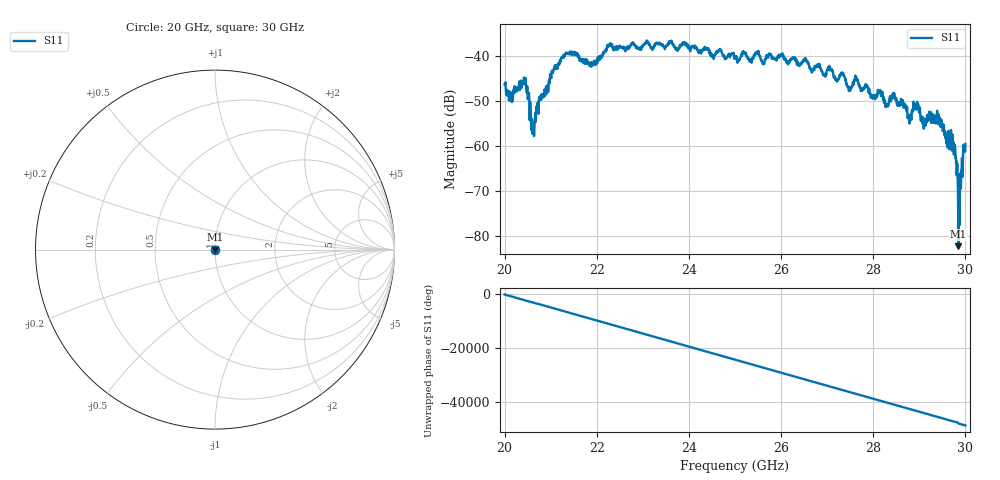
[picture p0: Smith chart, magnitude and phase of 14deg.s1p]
#  HZ  S  RI  R  50.00
! Rohde & Schwarz ZVA40 4Ports - Version 3.90 - 1145.1110k42 SN: 100403
! Date: 2023-10-03 12:43:44
! Measurement: S12
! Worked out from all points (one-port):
!   5001 points, 20 GHz to 30 GHz, reference 50 ohm
!   lowest |S11| = -82.4 dB at 29.85 GHz (marker M1), VSWR 1.00, Z = 50 + j0.00732 ohm
!   |S11| at or under -10 dB: start of sweep to end of sweep
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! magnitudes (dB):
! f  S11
! 20 GHz  -46.4
! 20.14 GHz  -49.5
! 20.42 GHz  -44.9
! 20.63 GHz  -55.0
! 20.76 GHz  -49.2
! 21.25 GHz  -40.5
! 21.52 GHz  -39.9
! 21.88 GHz  -41.4
! 22.27 GHz  -37.6
! 22.5 GHz  -38.0
! 23.75 GHz  -38.8
! 25 GHz  -40.2
! 26.25 GHz  -40.5
! 27.34 GHz  -44.1
! 27.5 GHz  -47.6
! 27.63 GHz  -45.4
! 27.99 GHz  -49.2
! 28.15 GHz  -47.7
! 28.28 GHz  -50.8
! 28.46 GHz  -48.3
! 28.75 GHz  -53.7
! 28.94 GHz  -51.3
! 29.11 GHz  -54.2
! 29.43 GHz  -54.5
! 29.73 GHz  -59.3
! 29.85 GHz  -82.4
! 29.89 GHz  -66.4
! 30 GHz  -59.6
